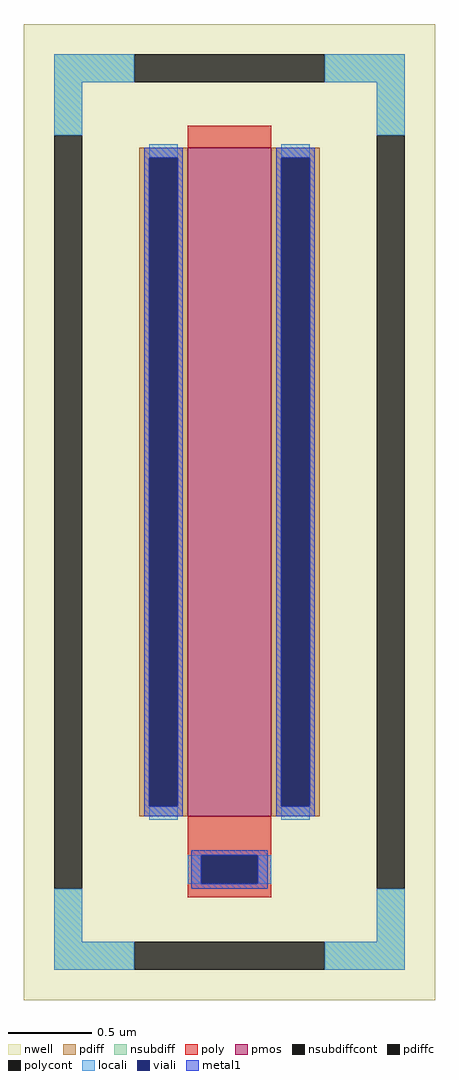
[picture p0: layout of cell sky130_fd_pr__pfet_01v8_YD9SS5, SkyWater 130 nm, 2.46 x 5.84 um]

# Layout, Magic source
magic
tech sky130A
magscale 1 2
<< nwell >>
rect -246 -584 246 584
<< pmos >>
rect -50 -364 50 436
<< pdiff >>
rect -108 424 -50 436
rect -108 -352 -96 424
rect -62 -352 -50 424
rect -108 -364 -50 -352
rect 50 424 108 436
rect 50 -352 62 424
rect 96 -352 108 424
rect 50 -364 108 -352
<< pdiffc >>
rect -96 -352 -62 424
rect 62 -352 96 424
<< nsubdiff >>
rect -210 514 -114 548
rect 114 514 210 548
rect -210 451 -176 514
rect 176 451 210 514
rect -210 -514 -176 -451
rect 176 -514 210 -451
rect -210 -548 -114 -514
rect 114 -548 210 -514
<< nsubdiffcont >>
rect -114 514 114 548
rect -210 -451 -176 451
rect 176 -451 210 451
rect -114 -548 114 -514
<< poly >>
rect -50 436 50 462
rect -50 -411 50 -364
rect -50 -445 -34 -411
rect 34 -445 50 -411
rect -50 -461 50 -445
<< polycont >>
rect -34 -445 34 -411
<< locali >>
rect -210 514 -114 548
rect 114 514 210 548
rect -210 451 -176 514
rect 176 451 210 514
rect -96 424 -62 440
rect -96 -368 -62 -352
rect 62 424 96 440
rect 62 -368 96 -352
rect -50 -445 -34 -411
rect 34 -445 50 -411
rect -210 -514 -176 -451
rect 176 -514 210 -451
rect -210 -548 -114 -514
rect 114 -548 210 -514
<< viali >>
rect -96 -352 -62 424
rect 62 -352 96 424
rect -34 -445 34 -411
<< metal1 >>
rect -102 424 -56 436
rect -102 -352 -96 424
rect -62 -352 -56 424
rect -102 -364 -56 -352
rect 56 424 102 436
rect 56 -352 62 424
rect 96 -352 102 424
rect 56 -364 102 -352
rect -46 -411 46 -405
rect -46 -445 -34 -411
rect 34 -445 46 -411
rect -46 -451 46 -445
<< properties >>
string FIXED_BBOX -193 -531 193 531
string gencell sky130_fd_pr__pfet_01v8
string library sky130
string parameters w 4 l 0.5 m 1 nf 1 diffcov 100 polycov 100 guard 1 glc 1 grc 1 gtc 1 gbc 1 tbcov 100 rlcov 100 topc 0 botc 1 poverlap 0 doverlap 1 lmin 0.15 wmin 0.42 compatible {sky130_fd_pr__pfet_01v8  sky130_fd_pr__pfet_01v8_lvt sky130_fd_pr__pfet_01v8_hvt  sky130_fd_pr__pfet_g5v0d10v5} full_metal 1 viasrc 100 viadrn 100 viagate 100 viagb 0 viagr 0 viagl 0 viagt 0
<< end >>
